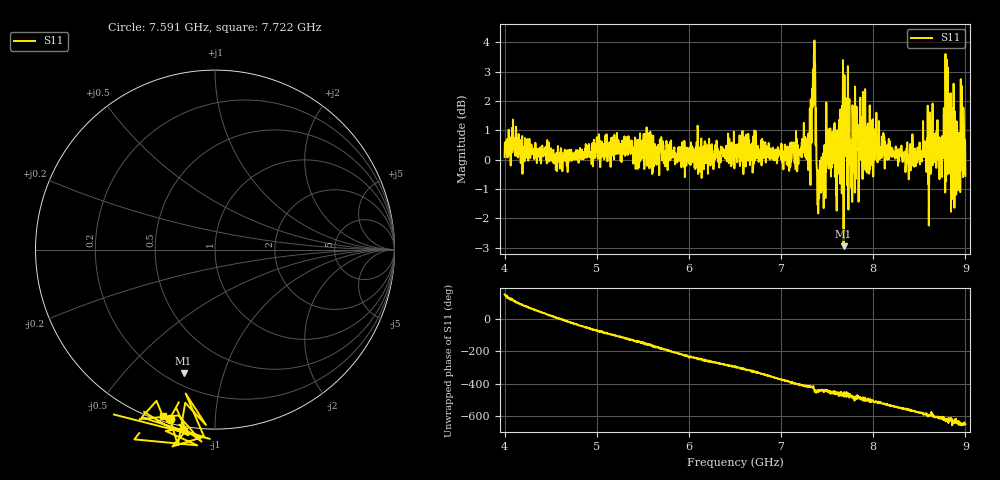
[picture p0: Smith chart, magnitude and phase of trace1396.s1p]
! Created with skrf 1.8.0 (http://scikit-rf.org).
# Hz S RI R 50.0
!freq ReS11 ImS11
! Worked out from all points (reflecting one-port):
!   1601 points, 4 GHz to 9 GHz, reference 50 ohm
!   lowest |S11| = -3.0 dB at 7.678 GHz (marker M1), VSWR 5.94, Z = 13.3 - j37.2 ohm
!   phase of S11 starts at 149 deg and turns -800 deg over the sweep
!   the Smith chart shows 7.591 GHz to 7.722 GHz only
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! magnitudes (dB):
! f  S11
! 4 GHz  0.1
! 4.1 GHz  0.6
! 4.625 GHz  -0.4
! 5.25 GHz  0.4
! 5.875 GHz  -0.1
! 6.5 GHz  0.2
! 7.125 GHz  0.3
! 7.294 GHz  -0.4
! 7.316 GHz  0.1
! 7.347 GHz  3.1
! 7.366 GHz  2.6
! 7.409 GHz  -0.7
! 7.509 GHz  -0.1
! 7.616 GHz  0.0
! 7.678 GHz  -3.0
! 7.691 GHz  0.9
! 7.75 GHz  0.7
! 7.784 GHz  -0.1
! 7.844 GHz  0.3
! 8.375 GHz  0.0
! 8.566 GHz  0.2
! 8.603 GHz  -2.2
! 8.656 GHz  0.5
! 8.738 GHz  0.4
! 8.816 GHz  0.4
! 8.869 GHz  -0.1
! 8.972 GHz  0.7
! 9 GHz  -0.6
